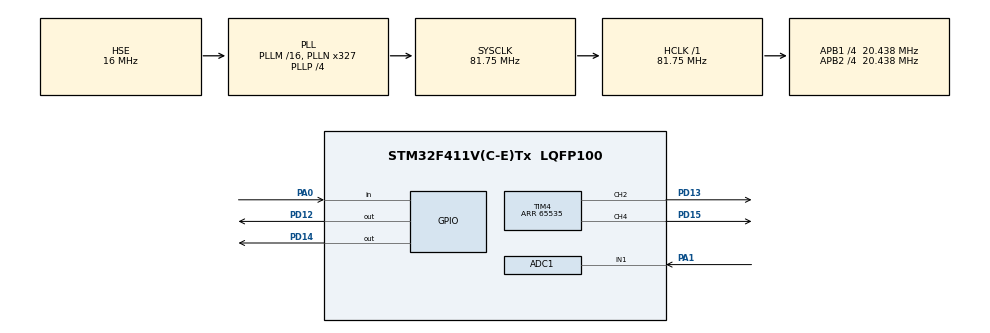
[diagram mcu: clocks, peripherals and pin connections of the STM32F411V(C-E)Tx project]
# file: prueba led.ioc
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ADC1.Channel-0\#ChannelRegularConversion=ADC_CHANNEL_1
ADC1.ClockPrescaler=ADC_CLOCK_SYNC_PCLK_DIV4
ADC1.ContinuousConvMode=ENABLE
ADC1.NbrOfConversionFlag=1
ADC1.Rank-0\#ChannelRegularConversion=1
ADC1.SamplingTime-0\#ChannelRegularConversion=ADC_SAMPLETIME_3CYCLES
ADC1.master=1
Mcu.Family=STM32F4
Mcu.Name=STM32F411V(C-E)Tx
Mcu.Package=LQFP100
NVIC.PriorityGroup=NVIC_PRIORITYGROUP_4
NVIC.TIM2_IRQn=true\:0\:0\:false\:false\:true\:true
NVIC.TIM4_IRQn=true\:0\:0\:false\:false\:true\:true
PA0-WKUP.Signal=GPIO_Input
PA1.Signal=ADCx_IN1
PA13.Mode=Serial_Wire
PA13.Signal=SYS_JTMS-SWDIO
PA14.Mode=Serial_Wire
PA14.Signal=SYS_JTCK-SWCLK
PD12.GPIO_Speed=GPIO_SPEED_FREQ_HIGH
PD12.Signal=GPIO_Output
PD13.Signal=S_TIM4_CH2
PD14.Signal=GPIO_Output
PD15.Signal=S_TIM4_CH4
PH0\ -\ OSC_IN.Mode=HSE-External-Oscillator
PH0\ -\ OSC_IN.Signal=RCC_OSC_IN
PH1\ -\ OSC_OUT.Mode=HSE-External-Oscillator
PH1\ -\ OSC_OUT.Signal=RCC_OSC_OUT
ProjectManager.HeapSize=0x200
ProjectManager.StackSize=0x400
ProjectManager.TargetToolchain=MDK-ARM V5
RCC.48MHZClocksFreq_Value=81750000
RCC.AHBFreq_Value=81750000
RCC.APB1CLKDivider=RCC_HCLK_DIV4
RCC.APB1Freq_Value=20437500
RCC.APB1TimFreq_Value=40875000
RCC.APB2CLKDivider=RCC_HCLK_DIV4
RCC.APB2Freq_Value=20437500
RCC.APB2TimFreq_Value=40875000
RCC.CortexFreq_Value=81750000
RCC.HCLKFreq_Value=81750000
RCC.HSE_VALUE=16000000
RCC.HSI_VALUE=16000000
RCC.LSE_VALUE=32768
RCC.PLLN=327
RCC.PLLP=RCC_PLLP_DIV4
RCC.PLLSourceVirtual=RCC_PLLSOURCE_HSE
RCC.SYSCLKFreq_VALUE=81750000
RCC.SYSCLKSource=RCC_SYSCLKSOURCE_PLLCLK
RCC.VCOOutputFreq_Value=327000000
SH.ADCx_IN1.0=ADC1_IN1,IN1
SH.S_TIM4_CH2.0=TIM4_CH2,PWM Generation2 CH2
SH.S_TIM4_CH4.0=TIM4_CH4,PWM Generation4 CH4
TIM2.Period=1999
TIM2.Prescaler=42000
TIM4.Channel-PWM\ Generation2\ CH2=TIM_CHANNEL_2
TIM4.Channel-PWM\ Generation4\ CH4=TIM_CHANNEL_4
TIM4.Period=65535
VP_TIM2_VS_ClockSourceINT.Mode=Internal
VP_TIM4_VS_ClockSourceINT.Mode=Internal
board=custom

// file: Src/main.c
/**
  ******************************************************************************
  * @file           : main.c
  * @brief          : Main program body
  ******************************************************************************
  ** This notice applies to any and all portions of this file
  * that are not between comment pairs USER CODE BEGIN and
  * USER CODE END. Other portions of this file, whether
  * inserted by the user or by software development tools
  * are owned by their respective copyright owners.
  *
  * COPYRIGHT(c) 2018 STMicroelectronics
  *
  * Redistribution and use in source and binary forms, with or without modification,
  * are permitted provided that the following conditions are met:
  *   1. Redistributions of source code must retain the above copyright notice,
  *      this list of conditions and the following disclaimer.
  *   2. Redistributions in binary form must reproduce the above copyright notice,
  *      this list of conditions and the following disclaimer in the documentation
  *      and/or other materials provided with the distribution.
  *   3. Neither the name of STMicroelectronics nor the names of its contributors
  *      may be used to endorse or promote products derived from this software
  *      without specific prior written permission.
  *
  * THIS SOFTWARE IS PROVIDED BY THE COPYRIGHT HOLDERS AND CONTRIBUTORS "AS IS"
  * AND ANY EXPRESS OR IMPLIED WARRANTIES, INCLUDING, BUT NOT LIMITED TO, THE
  * IMPLIED WARRANTIES OF MERCHANTABILITY AND FITNESS FOR A PARTICULAR PURPOSE ARE
  * DISCLAIMED. IN NO EVENT SHALL THE COPYRIGHT HOLDER OR CONTRIBUTORS BE LIABLE
  * FOR ANY DIRECT, INDIRECT, INCIDENTAL, SPECIAL, EXEMPLARY, OR CONSEQUENTIAL
  * DAMAGES (INCLUDING, BUT NOT LIMITED TO, PROCUREMENT OF SUBSTITUTE GOODS OR
  * SERVICES; LOSS OF USE, DATA, OR PROFITS; OR BUSINESS INTERRUPTION) HOWEVER
  * CAUSED AND ON ANY THEORY OF LIABILITY, WHETHER IN CONTRACT, STRICT LIABILITY,
  * OR TORT (INCLUDING NEGLIGENCE OR OTHERWISE) ARISING IN ANY WAY OUT OF THE USE
  * OF THIS SOFTWARE, EVEN IF ADVISED OF THE POSSIBILITY OF SUCH DAMAGE.
  *
  ******************************************************************************
  */
#include "main.h"
#include "stm32f4xx_hal.h"

ADC_HandleTypeDef hadc1;

TIM_HandleTypeDef htim2;
TIM_HandleTypeDef htim4;

/* USER CODE BEGIN PV */
/* Private variables ---------------------------------------------------------*/

/* USER CODE END PV */

void SystemClock_Config(void);
static void MX_GPIO_Init(void);
static void MX_TIM4_Init(void);
static void MX_TIM2_Init(void);
static void MX_ADC1_Init(void);

void HAL_TIM_MspPostInit(TIM_HandleTypeDef *htim);
 //Inicio Variables
int PWM=0;
int a=1;
uint32_t LDR=0;
int timer=0;
//************
/* USER CODE BEGIN PFP */
/* Private function prototypes -----------------------------------------------*/

/* USER CODE END PFP */

int main(void)
{

  /* MCU Configuration----------------------------------------------------------*/

  /* Reset of all peripherals, Initializes the Flash interface and the Systick. */
  HAL_Init();

  /* Configure the system clock */
  SystemClock_Config();

  /* Initialize all configured peripherals */
  MX_GPIO_Init();
  MX_TIM4_Init();
  MX_TIM2_Init();
  MX_ADC1_Init();
  /* USER CODE BEGIN 2 */

HAL_TIM_PWM_Start(&htim4, TIM_CHANNEL_2);//Inicializamos los canales
HAL_TIM_PWM_Start(&htim4, TIM_CHANNEL_4);

HAL_ADC_PollForConversion (&hadc1, 1000);//iniciamos conversor analogico digital con un timeout de 1000ms

//TIM4->CCR2=50000;

  /* USER CODE END 2 */

  /* Infinite loop */
  /* USER CODE BEGIN WHILE */
  while (1)
  {
if (timer>65000)//bucle pin naranja
		a=0;
	if (timer<0)
	  a=1;

	if(a==1)
		timer++;
	if(a==0)
		timer--;

		TIM4->CCR2=timer; //Escribimos seсal PWM en CCR2 -> naranja

	LDR = HAL_ADC_GetValue(&hadc1); //leemos seсal analogica
//	if (LDR<100)
//	{
//		TIM4->CCR4=0;
//	}
//	else
//	TIM4->CCR4=(LDR*54);
		if(LDR>1100)
			TIM4->CCR4=0;
		else
	TIM4->CCR4=65000-(LDR*65000/1200);

		HAL_ADC_Start (&hadc1); //necesario dentro de while para ejecucion correcta

  /* USER CODE END WHILE */

			if(HAL_GPIO_ReadPin(GPIOA,GPIO_PIN_0)) //dectecta pusador placa
	{

		HAL_TIM_Base_Start_IT(&htim2);
		HAL_GPIO_WritePin(GPIOD, GPIO_PIN_12|GPIO_PIN_14,GPIO_PIN_SET);

	}

  }

}

void HAL_TIM_PeriodElapsedCallback(TIM_HandleTypeDef *htim)
{
	if(htim->Instance==htim2.Instance)
	{
		HAL_GPIO_WritePin(GPIOD, GPIO_PIN_12|GPIO_PIN_14,GPIO_PIN_RESET);
		HAL_TIM_Base_Stop_IT(&htim2);
	//	HAL_GPIO_TogglePin(GPIOD,GPIO_PIN_12|GPIO_PIN_13|GPIO_PIN_14);

	}

}

void SystemClock_Config(void)
{

  RCC_OscInitTypeDef RCC_OscInitStruct;
  RCC_ClkInitTypeDef RCC_ClkInitStruct;

    /**Configure the main internal regulator output voltage
    */
  __HAL_RCC_PWR_CLK_ENABLE();

  __HAL_PWR_VOLTAGESCALING_CONFIG(PWR_REGULATOR_VOLTAGE_SCALE1);

    /**Initializes the CPU, AHB and APB busses clocks
    */
  RCC_OscInitStruct.OscillatorType = RCC_OSCILLATORTYPE_HSE;
  RCC_OscInitStruct.HSEState = RCC_HSE_ON;
  RCC_OscInitStruct.PLL.PLLState = RCC_PLL_ON;
  RCC_OscInitStruct.PLL.PLLSource = RCC_PLLSOURCE_HSE;
  RCC_OscInitStruct.PLL.PLLM = 16;
  RCC_OscInitStruct.PLL.PLLN = 327;
  RCC_OscInitStruct.PLL.PLLP = RCC_PLLP_DIV4;
  RCC_OscInitStruct.PLL.PLLQ = 4;
  if (HAL_RCC_OscConfig(&RCC_OscInitStruct) != HAL_OK)
  {
    _Error_Handler(__FILE__, __LINE__);
  }

    /**Initializes the CPU, AHB and APB busses clocks
    */
  RCC_ClkInitStruct.ClockType = RCC_CLOCKTYPE_HCLK|RCC_CLOCKTYPE_SYSCLK
                              |RCC_CLOCKTYPE_PCLK1|RCC_CLOCKTYPE_PCLK2;
  RCC_ClkInitStruct.SYSCLKSource = RCC_SYSCLKSOURCE_PLLCLK;
  RCC_ClkInitStruct.AHBCLKDivider = RCC_SYSCLK_DIV1;
  RCC_ClkInitStruct.APB1CLKDivider = RCC_HCLK_DIV4;
  RCC_ClkInitStruct.APB2CLKDivider = RCC_HCLK_DIV4;

  if (HAL_RCC_ClockConfig(&RCC_ClkInitStruct, FLASH_LATENCY_2) != HAL_OK)
  {
    _Error_Handler(__FILE__, __LINE__);
  }

    /**Configure the Systick interrupt time
    */
  HAL_SYSTICK_Config(HAL_RCC_GetHCLKFreq()/1000);

    /**Configure the Systick
    */
  HAL_SYSTICK_CLKSourceConfig(SYSTICK_CLKSOURCE_HCLK);

  /* SysTick_IRQn interrupt configuration */
  HAL_NVIC_SetPriority(SysTick_IRQn, 0, 0);
}

/* ADC1 init function */
static void MX_ADC1_Init(void)
{

  ADC_ChannelConfTypeDef sConfig;

    /**Configure the global features of the ADC (Clock, Resolution, Data Alignment and number of conversion)
    */
  hadc1.Instance = ADC1;
  hadc1.Init.ClockPrescaler = ADC_CLOCK_SYNC_PCLK_DIV4;
  hadc1.Init.Resolution = ADC_RESOLUTION_12B;
  hadc1.Init.ScanConvMode = DISABLE;
  hadc1.Init.ContinuousConvMode = ENABLE;
  hadc1.Init.DiscontinuousConvMode = DISABLE;
  hadc1.Init.ExternalTrigConvEdge = ADC_EXTERNALTRIGCONVEDGE_NONE;
  hadc1.Init.ExternalTrigConv = ADC_SOFTWARE_START;
  hadc1.Init.DataAlign = ADC_DATAALIGN_RIGHT;
  hadc1.Init.NbrOfConversion = 1;
  hadc1.Init.DMAContinuousRequests = DISABLE;
  hadc1.Init.EOCSelection = ADC_EOC_SINGLE_CONV;
  if (HAL_ADC_Init(&hadc1) != HAL_OK)
  {
    _Error_Handler(__FILE__, __LINE__);
  }

    /**Configure for the selected ADC regular channel its corresponding rank in the sequencer and its sample time.
    */
  sConfig.Channel = ADC_CHANNEL_1;
  sConfig.Rank = 1;
  sConfig.SamplingTime = ADC_SAMPLETIME_3CYCLES;
  if (HAL_ADC_ConfigChannel(&hadc1, &sConfig) != HAL_OK)
  {
    _Error_Handler(__FILE__, __LINE__);
  }

}

/* TIM2 init function */
static void MX_TIM2_Init(void)
{

  TIM_ClockConfigTypeDef sClockSourceConfig;
  TIM_MasterConfigTypeDef sMasterConfig;

  htim2.Instance = TIM2;
  htim2.Init.Prescaler = 42000;
  htim2.Init.CounterMode = TIM_COUNTERMODE_UP;
  htim2.Init.Period = 1999;
  htim2.Init.ClockDivision = TIM_CLOCKDIVISION_DIV1;
  if (HAL_TIM_Base_Init(&htim2) != HAL_OK)
  {
    _Error_Handler(__FILE__, __LINE__);
  }

  sClockSourceConfig.ClockSource = TIM_CLOCKSOURCE_INTERNAL;
  if (HAL_TIM_ConfigClockSource(&htim2, &sClockSourceConfig) != HAL_OK)
  {
    _Error_Handler(__FILE__, __LINE__);
  }

  sMasterConfig.MasterOutputTrigger = TIM_TRGO_RESET;
  sMasterConfig.MasterSlaveMode = TIM_MASTERSLAVEMODE_DISABLE;
  if (HAL_TIMEx_MasterConfigSynchronization(&htim2, &sMasterConfig) != HAL_OK)
  {
    _Error_Handler(__FILE__, __LINE__);
  }

}

/* TIM4 init function */
static void MX_TIM4_Init(void)
{

  TIM_ClockConfigTypeDef sClockSourceConfig;
  TIM_MasterConfigTypeDef sMasterConfig;
  TIM_OC_InitTypeDef sConfigOC;

  htim4.Instance = TIM4;
  htim4.Init.Prescaler = 0;
  htim4.Init.CounterMode = TIM_COUNTERMODE_UP;
  htim4.Init.Period = 65535;
  htim4.Init.ClockDivision = TIM_CLOCKDIVISION_DIV1;
  if (HAL_TIM_Base_Init(&htim4) != HAL_OK)
  {
    _Error_Handler(__FILE__, __LINE__);
  }

  sClockSourceConfig.ClockSource = TIM_CLOCKSOURCE_INTERNAL;
  if (HAL_TIM_ConfigClockSource(&htim4, &sClockSourceConfig) != HAL_OK)
  {
    _Error_Handler(__FILE__, __LINE__);
  }

  if (HAL_TIM_PWM_Init(&htim4) != HAL_OK)
  {
    _Error_Handler(__FILE__, __LINE__);
  }

  sMasterConfig.MasterOutputTrigger = TIM_TRGO_RESET;
  sMasterConfig.MasterSlaveMode = TIM_MASTERSLAVEMODE_DISABLE;
  if (HAL_TIMEx_MasterConfigSynchronization(&htim4, &sMasterConfig) != HAL_OK)
  {
    _Error_Handler(__FILE__, __LINE__);
  }

  sConfigOC.OCMode = TIM_OCMODE_PWM1;
  sConfigOC.Pulse = 0;
  sConfigOC.OCPolarity = TIM_OCPOLARITY_HIGH;
  sConfigOC.OCFastMode = TIM_OCFAST_DISABLE;
  if (HAL_TIM_PWM_ConfigChannel(&htim4, &sConfigOC, TIM_CHANNEL_2) != HAL_OK)
  {
    _Error_Handler(__FILE__, __LINE__);
  }

  if (HAL_TIM_PWM_ConfigChannel(&htim4, &sConfigOC, TIM_CHANNEL_4) != HAL_OK)
  {
    _Error_Handler(__FILE__, __LINE__);
  }

  HAL_TIM_MspPostInit(&htim4);

}

/** Configure pins as
        * Analog
        * Input
        * Output
        * EVENT_OUT
        * EXTI
*/
static void MX_GPIO_Init(void)
{

  GPIO_InitTypeDef GPIO_InitStruct;

  /* GPIO Ports Clock Enable */
  __HAL_RCC_GPIOH_CLK_ENABLE();
  __HAL_RCC_GPIOA_CLK_ENABLE();
  __HAL_RCC_GPIOD_CLK_ENABLE();

  /*Configure GPIO pin Output Level */
  HAL_GPIO_WritePin(GPIOD, GPIO_PIN_12|GPIO_PIN_14, GPIO_PIN_RESET);

  /*Configure GPIO pin : PA0 */
  GPIO_InitStruct.Pin = GPIO_PIN_0;
  GPIO_InitStruct.Mode = GPIO_MODE_INPUT;
  GPIO_InitStruct.Pull = GPIO_NOPULL;
  HAL_GPIO_Init(GPIOA, &GPIO_InitStruct);

  /*Configure GPIO pin : PD12 */
  GPIO_InitStruct.Pin = GPIO_PIN_12;
  GPIO_InitStruct.Mode = GPIO_MODE_OUTPUT_PP;
  GPIO_InitStruct.Pull = GPIO_NOPULL;
  GPIO_InitStruct.Speed = GPIO_SPEED_FREQ_HIGH;
  HAL_GPIO_Init(GPIOD, &GPIO_InitStruct);

  /*Configure GPIO pin : PD14 */
  GPIO_InitStruct.Pin = GPIO_PIN_14;
  GPIO_InitStruct.Mode = GPIO_MODE_OUTPUT_PP;
  GPIO_InitStruct.Pull = GPIO_NOPULL;
  GPIO_InitStruct.Speed = GPIO_SPEED_FREQ_LOW;
  HAL_GPIO_Init(GPIOD, &GPIO_InitStruct);

}

void _Error_Handler(char *file, int line)
{
  while(1)
  {
  }
}

/************************ (C) COPYRIGHT STMicroelectronics *****END OF FILE****/
